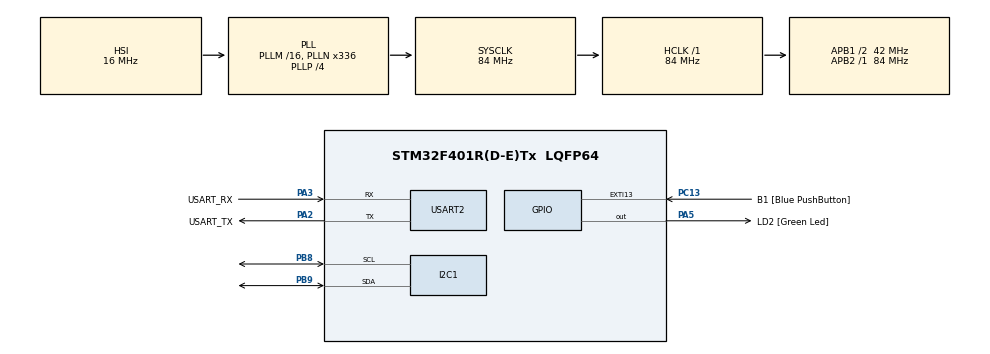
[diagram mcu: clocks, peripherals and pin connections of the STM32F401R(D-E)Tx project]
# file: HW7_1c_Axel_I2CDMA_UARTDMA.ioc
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Dma.I2C1_RX.0.Direction=DMA_PERIPH_TO_MEMORY
Dma.I2C1_RX.0.FIFOMode=DMA_FIFOMODE_DISABLE
Dma.I2C1_RX.0.Instance=DMA1_Stream0
Dma.I2C1_RX.0.MemDataAlignment=DMA_MDATAALIGN_BYTE
Dma.I2C1_RX.0.MemInc=DMA_MINC_ENABLE
Dma.I2C1_RX.0.Mode=DMA_NORMAL
Dma.I2C1_RX.0.PeriphDataAlignment=DMA_PDATAALIGN_BYTE
Dma.I2C1_RX.0.PeriphInc=DMA_PINC_DISABLE
Dma.I2C1_RX.0.Priority=DMA_PRIORITY_LOW
Dma.Request0=I2C1_RX
Dma.Request1=USART2_TX
Dma.USART2_TX.1.Direction=DMA_MEMORY_TO_PERIPH
Dma.USART2_TX.1.FIFOMode=DMA_FIFOMODE_DISABLE
Dma.USART2_TX.1.Instance=DMA1_Stream6
Dma.USART2_TX.1.MemDataAlignment=DMA_MDATAALIGN_BYTE
Dma.USART2_TX.1.MemInc=DMA_MINC_ENABLE
Dma.USART2_TX.1.Mode=DMA_NORMAL
Dma.USART2_TX.1.PeriphDataAlignment=DMA_PDATAALIGN_BYTE
Dma.USART2_TX.1.PeriphInc=DMA_PINC_DISABLE
Dma.USART2_TX.1.Priority=DMA_PRIORITY_LOW
Mcu.Family=STM32F4
Mcu.Name=STM32F401R(D-E)Tx
Mcu.Package=LQFP64
NVIC.DMA1_Stream0_IRQn=true\:0\:0\:false\:false\:true\:false\:true\:true
NVIC.DMA1_Stream6_IRQn=true\:0\:0\:false\:false\:true\:false\:true\:true
NVIC.I2C1_EV_IRQn=true\:0\:0\:false\:false\:true\:true\:true\:true
NVIC.PriorityGroup=NVIC_PRIORITYGROUP_0
NVIC.TIM2_IRQn=true\:0\:0\:false\:false\:true\:true\:true\:true
NVIC.USART2_IRQn=true\:0\:0\:false\:false\:true\:true\:true\:true
PA13.GPIO_Label=TMS
PA13.Mode=Serial_Wire
PA13.Signal=SYS_JTMS-SWDIO
PA14.GPIO_Label=TCK
PA14.Mode=Serial_Wire
PA14.Signal=SYS_JTCK-SWCLK
PA2.GPIO_Label=USART_TX
PA2.GPIO_Mode=GPIO_MODE_AF_PP
PA2.GPIO_PuPd=GPIO_NOPULL
PA2.GPIO_Speed=GPIO_SPEED_FREQ_LOW
PA2.Mode=Asynchronous
PA2.Signal=USART2_TX
PA3.GPIO_Label=USART_RX
PA3.GPIO_Mode=GPIO_MODE_AF_PP
PA3.GPIO_PuPd=GPIO_NOPULL
PA3.GPIO_Speed=GPIO_SPEED_FREQ_LOW
PA3.Mode=Asynchronous
PA3.Signal=USART2_RX
PA5.GPIO_Label=LD2 [Green Led]
PA5.GPIO_Mode=GPIO_MODE_OUTPUT_PP
PA5.GPIO_PuPd=GPIO_NOPULL
PA5.GPIO_Speed=GPIO_SPEED_FREQ_LOW
PA5.Signal=GPIO_Output
PB3.GPIO_Label=SWO
PB3.Signal=SYS_JTDO-SWO
PB8.Mode=I2C
PB8.Signal=I2C1_SCL
PB9.Mode=I2C
PB9.Signal=I2C1_SDA
PC13-ANTI_TAMP.GPIO_Label=B1 [Blue PushButton]
PC13-ANTI_TAMP.GPIO_ModeDefaultEXTI=GPIO_MODE_IT_FALLING
PC13-ANTI_TAMP.GPIO_PuPd=GPIO_NOPULL
PC13-ANTI_TAMP.Signal=GPXTI13
PC14-OSC32_IN.Mode=LSE-External-Oscillator
PC14-OSC32_IN.Signal=RCC_OSC32_IN
PC15-OSC32_OUT.Mode=LSE-External-Oscillator
PC15-OSC32_OUT.Signal=RCC_OSC32_OUT
PH0\ -\ OSC_IN.Mode=HSE-External-Clock-Source
PH0\ -\ OSC_IN.Signal=RCC_OSC_IN
PH1\ -\ OSC_OUT.Mode=HSE-External-Clock-Source
PH1\ -\ OSC_OUT.Signal=RCC_OSC_OUT
ProjectManager.HeapSize=0x200
ProjectManager.StackSize=0x400
ProjectManager.TargetToolchain=STM32CubeIDE
RCC.48MHZClocksFreq_Value=48000000
RCC.AHBFreq_Value=84000000
RCC.APB1CLKDivider=RCC_HCLK_DIV2
RCC.APB1Freq_Value=42000000
RCC.APB1TimFreq_Value=84000000
RCC.APB2Freq_Value=84000000
RCC.APB2TimFreq_Value=84000000
RCC.CortexFreq_Value=84000000
RCC.HCLKFreq_Value=84000000
RCC.HSE_VALUE=8000000
RCC.HSI_VALUE=16000000
RCC.PLLN=336
RCC.PLLP=RCC_PLLP_DIV4
RCC.PLLQ=7
RCC.SYSCLKFreq_VALUE=84000000
RCC.SYSCLKSource=RCC_SYSCLKSOURCE_PLLCLK
RCC.VCOOutputFreq_Value=336000000
TIM2.Period=10000-1
TIM2.Prescaler=8400-1
USART2.VirtualMode=VM_ASYNC
VP_TIM2_VS_ClockSourceINT.Mode=Internal
board=NUCLEO-F401RE

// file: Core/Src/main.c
/* USER CODE BEGIN Header */
/**
  ******************************************************************************
  * @file           : main.c
  * @brief          : Main program body
  ******************************************************************************
  * @attention
  *
  * Copyright (c) 2022 STMicroelectronics.
  * All rights reserved.
  *
  * This software is licensed under terms that can be found in the LICENSE file
  * in the root directory of this software component.
  * If no LICENSE file comes with this software, it is provided AS-IS.
  *
  ******************************************************************************
  */
/* USER CODE END Header */
#include "main.h"

I2C_HandleTypeDef hi2c1;
DMA_HandleTypeDef hdma_i2c1_rx;

TIM_HandleTypeDef htim2;

UART_HandleTypeDef huart2;
DMA_HandleTypeDef hdma_usart2_tx;

/* USER CODE BEGIN PV */

	//Axel address
	uint8_t address = 0b01010000;

	//LIS2DE12
	uint8_t LIS2DE12_addr = 0b00110000;

	//Output addresses
	uint8_t x_output_addr = 0x29;
	uint8_t y_output_addr = 0x2B;
	uint8_t z_output_addr = 0x2D;

	//REG1 : 1Hz + 3 axis enabled
	uint8_t ctrl_reg1[] = {0x20, 0b00010111};

	//REG2 : no High pass filter
	uint8_t ctrl_reg2[] = {0x21, 0b00000000};

	//REG4 : continuous update + 2gFSR
	uint8_t ctrl_reg4[] = {0x23, 0b00000000};

	//Read values
	int8_t axel_val[5];

/* USER CODE END PV */

void SystemClock_Config(void);
static void MX_GPIO_Init(void);
static void MX_DMA_Init(void);
static void MX_USART2_UART_Init(void);
static void MX_I2C1_Init(void);
static void MX_TIM2_Init(void);

/* USER CODE BEGIN 0 */

void HAL_TIM_PeriodElapsedCallback(TIM_HandleTypeDef *htim){

	if(htim==&htim2){

	  //set MSB = 1 to enable address auto increment
	  uint8_t output_addr = (0x80 | x_output_addr);

	  HAL_I2C_Master_Transmit(&hi2c1, address, &output_addr, 1, 100);
	  //read 5 register in sequence (we are interested in 0,2,4)
	  HAL_I2C_Master_Receive_DMA(&hi2c1, address, axel_val, 5);

	}
}

void HAL_I2C_MasterRxCpltCallback(I2C_HandleTypeDef *hi2c){

	int len = 0;
	char str[64];

	float x_g_value = axel_val[0]/64.0;
	float y_g_value = axel_val[2]/64.0;
	float z_g_value = axel_val[4]/64.0;

	len = snprintf(str, sizeof(str), "X: %+.2f g\r\nY: %+.2f g\r\nZ: %+.2f g\r\n\n", x_g_value, y_g_value, z_g_value);
	HAL_UART_Transmit_DMA(&huart2, (uint8_t*)&str, len);

	HAL_TIM_Base_Start_IT(&htim2);
}
/* USER CODE END 0 */

int main(void)
{

  /* MCU Configuration--------------------------------------------------------*/

  /* Reset of all peripherals, Initializes the Flash interface and the Systick. */
  HAL_Init();

  /* Configure the system clock */
  SystemClock_Config();

  /* Initialize all configured peripherals */
  MX_GPIO_Init();
  MX_DMA_Init();
  MX_USART2_UART_Init();
  MX_I2C1_Init();
  MX_TIM2_Init();
  /* USER CODE BEGIN 2 */

  	char str[64];
	int len = 0;

	//Axel initialization
	if(HAL_I2C_Master_Transmit(&hi2c1, address, ctrl_reg1, 1, 10) == HAL_OK){
	  len = snprintf(str, sizeof(str), "You have LIS2DE\r\n");
	}else{
	  address = LIS2DE12_addr;

	  if(HAL_I2C_Master_Transmit(&hi2c1, address, ctrl_reg1, 1, 10) == HAL_OK){
		  len = snprintf(str, sizeof(str), "You have LIS2DE12\r\n");
	  }else{
		  len = snprintf(str, sizeof(str), "No accelerometer found\r\n");
	  }
	}

    HAL_UART_Transmit(&huart2, str, len, 100);

    //Register configuration
	  HAL_I2C_Master_Transmit(&hi2c1, address, ctrl_reg1, 2, 10);
	  HAL_I2C_Master_Transmit(&hi2c1, address, ctrl_reg2, 2, 10);
	  HAL_I2C_Master_Transmit(&hi2c1, address, ctrl_reg4, 2, 10);

	  HAL_TIM_Base_Start_IT(&htim2);

  /* USER CODE END 2 */

  /* Infinite loop */
  while (1)
  {

  }
}
void SystemClock_Config(void)
{
  RCC_OscInitTypeDef RCC_OscInitStruct = {0};
  RCC_ClkInitTypeDef RCC_ClkInitStruct = {0};

  /** Configure the main internal regulator output voltage
  */
  __HAL_RCC_PWR_CLK_ENABLE();
  __HAL_PWR_VOLTAGESCALING_CONFIG(PWR_REGULATOR_VOLTAGE_SCALE2);

  /** Initializes the RCC Oscillators according to the specified parameters
  * in the RCC_OscInitTypeDef structure.
  */
  RCC_OscInitStruct.OscillatorType = RCC_OSCILLATORTYPE_HSI;
  RCC_OscInitStruct.HSIState = RCC_HSI_ON;
  RCC_OscInitStruct.HSICalibrationValue = RCC_HSICALIBRATION_DEFAULT;
  RCC_OscInitStruct.PLL.PLLState = RCC_PLL_ON;
  RCC_OscInitStruct.PLL.PLLSource = RCC_PLLSOURCE_HSI;
  RCC_OscInitStruct.PLL.PLLM = 16;
  RCC_OscInitStruct.PLL.PLLN = 336;
  RCC_OscInitStruct.PLL.PLLP = RCC_PLLP_DIV4;
  RCC_OscInitStruct.PLL.PLLQ = 7;
  if (HAL_RCC_OscConfig(&RCC_OscInitStruct) != HAL_OK)
  {
    Error_Handler();
  }

  /** Initializes the CPU, AHB and APB buses clocks
  */
  RCC_ClkInitStruct.ClockType = RCC_CLOCKTYPE_HCLK|RCC_CLOCKTYPE_SYSCLK
                              |RCC_CLOCKTYPE_PCLK1|RCC_CLOCKTYPE_PCLK2;
  RCC_ClkInitStruct.SYSCLKSource = RCC_SYSCLKSOURCE_PLLCLK;
  RCC_ClkInitStruct.AHBCLKDivider = RCC_SYSCLK_DIV1;
  RCC_ClkInitStruct.APB1CLKDivider = RCC_HCLK_DIV2;
  RCC_ClkInitStruct.APB2CLKDivider = RCC_HCLK_DIV1;

  if (HAL_RCC_ClockConfig(&RCC_ClkInitStruct, FLASH_LATENCY_2) != HAL_OK)
  {
    Error_Handler();
  }
}

static void MX_I2C1_Init(void)
{

  hi2c1.Instance = I2C1;
  hi2c1.Init.ClockSpeed = 100000;
  hi2c1.Init.DutyCycle = I2C_DUTYCYCLE_2;
  hi2c1.Init.OwnAddress1 = 0;
  hi2c1.Init.AddressingMode = I2C_ADDRESSINGMODE_7BIT;
  hi2c1.Init.DualAddressMode = I2C_DUALADDRESS_DISABLE;
  hi2c1.Init.OwnAddress2 = 0;
  hi2c1.Init.GeneralCallMode = I2C_GENERALCALL_DISABLE;
  hi2c1.Init.NoStretchMode = I2C_NOSTRETCH_DISABLE;
  if (HAL_I2C_Init(&hi2c1) != HAL_OK)
  {
    Error_Handler();
  }

}

static void MX_TIM2_Init(void)
{

  TIM_ClockConfigTypeDef sClockSourceConfig = {0};
  TIM_MasterConfigTypeDef sMasterConfig = {0};

  htim2.Instance = TIM2;
  htim2.Init.Prescaler = 8400-1;
  htim2.Init.CounterMode = TIM_COUNTERMODE_UP;
  htim2.Init.Period = 10000-1;
  htim2.Init.ClockDivision = TIM_CLOCKDIVISION_DIV1;
  htim2.Init.AutoReloadPreload = TIM_AUTORELOAD_PRELOAD_DISABLE;
  if (HAL_TIM_Base_Init(&htim2) != HAL_OK)
  {
    Error_Handler();
  }
  sClockSourceConfig.ClockSource = TIM_CLOCKSOURCE_INTERNAL;
  if (HAL_TIM_ConfigClockSource(&htim2, &sClockSourceConfig) != HAL_OK)
  {
    Error_Handler();
  }
  sMasterConfig.MasterOutputTrigger = TIM_TRGO_RESET;
  sMasterConfig.MasterSlaveMode = TIM_MASTERSLAVEMODE_DISABLE;
  if (HAL_TIMEx_MasterConfigSynchronization(&htim2, &sMasterConfig) != HAL_OK)
  {
    Error_Handler();
  }

}

static void MX_USART2_UART_Init(void)
{

  huart2.Instance = USART2;
  huart2.Init.BaudRate = 115200;
  huart2.Init.WordLength = UART_WORDLENGTH_8B;
  huart2.Init.StopBits = UART_STOPBITS_1;
  huart2.Init.Parity = UART_PARITY_NONE;
  huart2.Init.Mode = UART_MODE_TX_RX;
  huart2.Init.HwFlowCtl = UART_HWCONTROL_NONE;
  huart2.Init.OverSampling = UART_OVERSAMPLING_16;
  if (HAL_UART_Init(&huart2) != HAL_OK)
  {
    Error_Handler();
  }

}

static void MX_DMA_Init(void)
{

  /* DMA controller clock enable */
  __HAL_RCC_DMA1_CLK_ENABLE();

  /* DMA interrupt init */
  /* DMA1_Stream0_IRQn interrupt configuration */
  HAL_NVIC_SetPriority(DMA1_Stream0_IRQn, 0, 0);
  HAL_NVIC_EnableIRQ(DMA1_Stream0_IRQn);
  /* DMA1_Stream6_IRQn interrupt configuration */
  HAL_NVIC_SetPriority(DMA1_Stream6_IRQn, 0, 0);
  HAL_NVIC_EnableIRQ(DMA1_Stream6_IRQn);

}

static void MX_GPIO_Init(void)
{
  GPIO_InitTypeDef GPIO_InitStruct = {0};

  /* GPIO Ports Clock Enable */
  __HAL_RCC_GPIOC_CLK_ENABLE();
  __HAL_RCC_GPIOH_CLK_ENABLE();
  __HAL_RCC_GPIOA_CLK_ENABLE();
  __HAL_RCC_GPIOB_CLK_ENABLE();

  /*Configure GPIO pin Output Level */
  HAL_GPIO_WritePin(LD2_GPIO_Port, LD2_Pin, GPIO_PIN_RESET);

  /*Configure GPIO pin : B1_Pin */
  GPIO_InitStruct.Pin = B1_Pin;
  GPIO_InitStruct.Mode = GPIO_MODE_IT_FALLING;
  GPIO_InitStruct.Pull = GPIO_NOPULL;
  HAL_GPIO_Init(B1_GPIO_Port, &GPIO_InitStruct);

  /*Configure GPIO pin : LD2_Pin */
  GPIO_InitStruct.Pin = LD2_Pin;
  GPIO_InitStruct.Mode = GPIO_MODE_OUTPUT_PP;
  GPIO_InitStruct.Pull = GPIO_NOPULL;
  GPIO_InitStruct.Speed = GPIO_SPEED_FREQ_LOW;
  HAL_GPIO_Init(LD2_GPIO_Port, &GPIO_InitStruct);

}

void Error_Handler(void)
{
  __disable_irq();
  while (1)
  {
  }
}
